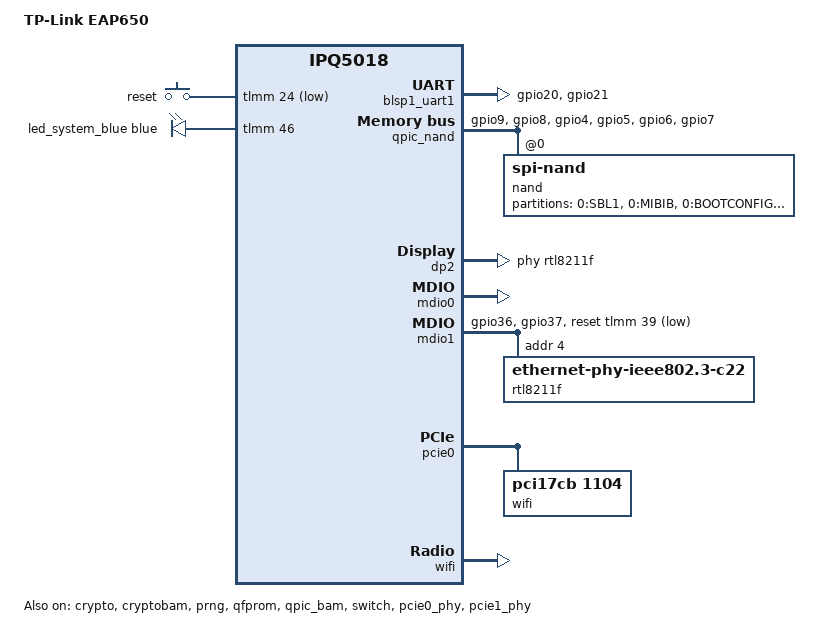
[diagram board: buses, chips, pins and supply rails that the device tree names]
/dts-v1/;

#include "ipq5018.dtsi"
#include "ipq5018-ess.dtsi"

#include <dt-bindings/gpio/gpio.h>
#include <dt-bindings/input/input.h>
#include <dt-bindings/leds/common.h>

/ {
	model = "TP-Link EAP650";
	compatible = "tplink,eap650", "qcom,ipq5018";

	aliases {
		label-mac-device = &dp1;
		led-boot = &led_system_blue;
		serial0 = &blsp1_uart1;
	};

	chosen {
		/* Xiaomi's U-boot sets bootargs to:
		 * ubi.mtd=rootfs_1 root=mtd:ubi_rootfs rootfstype=squashfs rootwait uart_en=1
		 * so we need to override and set ubi.mtd=rootfs
		 */
		bootargs-append = " ubi.mtd=rootfs root=/dev/ubiblock0_1 swiotlb=1 coherent_pool=2M";
		stdout-path = "serial0:115200n8";
	};

	keys {
		compatible = "gpio-keys";

		pinctrl-0 = <&button_pins>;
		pinctrl-names = "default";

		reset-button {
			label = "reset";
			gpios = <&tlmm 24 GPIO_ACTIVE_LOW>;
			linux,code = <KEY_RESTART>;
		};
	};

	leds {
		compatible = "gpio-leds";

		pinctrl-0 = <&leds_pins>;
		pinctrl-names = "default";

		led_system_blue: system-blue {
			color = <LED_COLOR_ID_BLUE>;
			function = LED_FUNCTION_POWER;
			gpios = <&tlmm 46 GPIO_ACTIVE_HIGH>;
		};
	};
};

&sleep_clk {
	clock-frequency = <32000>;
};

&xo_board_clk {
	clock-div = <4>;
	clock-mult = <1>;
};

&blsp1_uart1 {
	status = "okay";

	pinctrl-0 = <&serial_0_pins>;
	pinctrl-names = "default";
};

&crypto {
	status = "okay";
};

&cryptobam {
	status = "okay";
};

&prng {
	status = "okay";
};

&qfprom {
	status = "okay";
};

&qpic_bam {
	status = "okay";
};

&qpic_nand {
	pinctrl-0 = <&qpic_pins>;
	pinctrl-names = "default";
	status = "okay";

	nand@0 {
		compatible = "spi-nand";
		reg = <0>;
		nand-ecc-engine = <&qpic_nand>;
		nand-bus-width = <8>;

		partitions {
			compatible = "fixed-partitions";
			#address-cells = <1>;
			#size-cells = <1>;

			partition@0 {
				label = "0:SBL1";
				reg = <0x00 0x80000>;
			};

			partition@80000 {
				label = "0:MIBIB";
				reg = <0x80000 0x80000>;
			};

			partition@100000 {
				label = "0:BOOTCONFIG";
				reg = <0x100000 0x100000>;
			};

			partition@200000 {
				label = "0:BOOTCONFIG1";
				reg = <0x200000 0x100000>;
			};

			partition@300000 {
				label = "0:QSEE";
				reg = <0x300000 0x200000>;
			};

			partition@500000 {
				label = "0:DEVCFG";
				reg = <0x500000 0x40000>;
			};

			partition@540000 {
				label = "0:CDT";
				reg = <0x540000 0x80000>;
			};

			partition@5c0000 {
				label = "0:APPSBLENV";
				reg = <0x5c0000 0x440000>;
			};

			partition@a00000 {
				label = "0:APPSBL_1";
				reg = <0xa00000 0x300000>;
			};

			partition@d00000 {
				label = "0:APPSBL";
				reg = <0xd00000 0x300000>;
			};

			partition@1000000 {
				label = "0:art";
				reg = <0x1000000 0x100000>;
				//read-only;

				nvmem-layout {
					compatible = "fixed-layout";
					#address-cells = <1>;
					#size-cells = <1>;

					mac_addr_dp1: macaddr@0 {
						reg = <0x0 0x6>;
					};

					mac_addr_dp2: macaddr@6 {
						reg = <0x6 0x6>;
					};

					caldata_qca9889: caldata@4d000 {
						reg = <0x4d000 0x844>;
					};
				};
			};

			partition@1100000 {
				label = "rootfs";
				reg = <0x1100000 0x6900000>;
			};
		};
	};
};

/*
* =================================================================
*     _______________________
*    |        IPQ5018        |
*    | +------+   +--------+ |
*    | | MAC0 |---| GE Phy | |
*    | +------+   +--------+ |
*    |                       |
*    |                       |            _______________________
*    |                       |           |        RTL8211f       |
*    | +------+   +--------+ |           | +-------------------+ |
*    | | MAC1 |---| Uniphy |-+-- SGMII+--+ |        Phy        | |
*    | +------+   +--------+ |           | +-------------------+ |
*    |_______________________|           |_______________________|
*
* =================================================================
*/

&switch {
	status = "okay";

	switch_mac_mode = <MAC_MODE_SGMII_CHANNEL0>;

	qcom,port_phyinfo {
		// MAC0 -> GE Phy --- MDI --- QCA8337 Switch
		port@1 {
			port_id = <1>;
			mdiobus = <&mdio0>;
			phy_address = <7>;
			phy_dac = <0x10 0x10>;
		};

		// MAC1 -> Uniphy --- SGMII --- RTL8211f
		port@2 {
			port_id = <2>;
			mdiobus = <&mdio1>;
			phy_address = <4>;
			port_mac_sel = "QGMAC_PORT";
		};
	};
};

// MAC0 -> GE Phy
&dp1 {
	status = "disabled";

	nvmem-cells = <&mac_addr_dp1 0>;
	nvmem-cell-names = "mac-address";
};

// MAC1 ---SGMII---> RTL8211f
&dp2 {
	status = "okay";

	phy-handle = <&rtl8211f>;
	nvmem-cells = <&mac_addr_dp2 0>;
	nvmem-cell-names = "mac-address";
};

&mdio0 {
	status = "okay";
};

&mdio1 {
	status = "okay";

	pinctrl-0 = <&mdio1_pins>;
	pinctrl-names = "default";
	reset-gpios = <&tlmm 39 GPIO_ACTIVE_LOW>;

	// RTL8211f Phy -> WAN
	rtl8211f: ethernet-phy@3 {
		compatible = "ethernet-phy-ieee802.3-c22";
		reg = <4>;

		leds {
			#address-cells = <1>;
			#size-cells = <0>;

			led@0 {
				reg = <0>;
				color = <LED_COLOR_ID_GREEN>;
				function = LED_FUNCTION_WAN;
				default-state = "keep";
			};
		};
	};
};

&tlmm {
	button_pins: button-state {
		pins = "gpio24";
		function = "gpio";
		drive-strength = <8>;
		bias-pull-up;
	};

	leds_pins: leds-state {
		pins = "gpio46";
		function = "gpio";
		drive-strength = <8>;
		bias-pull-down;
	};

	mdio1_pins: mdio-state {
		mdc-pins {
			pins = "gpio36";
			function = "mdc";
			drive-strength = <8>;
			bias-pull-up;
		};

		mdio-pins {
			pins = "gpio37";
			function = "mdio";
			drive-strength = <8>;
			bias-pull-up;
		};
	};

	qpic_pins: qpic-state {
		clock-pins {
			pins = "gpio9";
			function = "qspi_clk";
			drive-strength = <8>;
			bias-disable;
		};

		cs-pins {
			pins = "gpio8";
			function = "qspi_cs";
			drive-strength = <8>;
			bias-disable;
		};

		data-pins {
			pins = "gpio4", "gpio5", "gpio6", "gpio7";
			function = "qspi_data";
			drive-strength = <8>;
			bias-disable;
		};
	};

	serial_0_pins: uart0-state {
		pins = "gpio20", "gpio21";
		function = "blsp0_uart0";
		bias-disable;
	};
};

&pcie0_phy {
	status = "okay";
};

&pcie0 {
	status = "okay";

	perst-gpios = <&tlmm 15 GPIO_ACTIVE_LOW>;

	pcie@0 {
		wifi@0,0 {
			status = "okay";

			/* QCN9074: ath11k lacks DT compatible for PCI cards */
			compatible = "pci17cb,1104";
			reg = <0x00010000 0 0 0 0>;

			qcom,tgt-mem-mode = <0x01>;
			qcom,rproc = <0x1b>;
			qcom,bdf-addr = <0x4ba00000 0x4ba00000 0x4ba00000 0x00 0x00>;
			qcom,caldb-addr = <0x4ca00000 0x4ca00000 0x4ca00000 0x00 0x00>;
			qcom,caldb-size = <0x200000>;
			qcom,board_id = <0x24>;
			qcom,ath11k-calibration-variant = "TPLink-EAP650";
		};
	};
};

&pcie1_phy {
	status = "okay";
};

&pcie1 {
	/*
	 * although the pcie1 phy probes successfully, the controller is unable
	 * to bring it up. So let's disable it until a solution is found.
	 */
	status = "disabled";

	perst-gpios = <&tlmm 18 GPIO_ACTIVE_LOW>;

	pcie@0 {
		wifi@0,0 {
			status = "okay";

			compatible = "qcom,ath10k";
			reg = <0x00010000 0 0 0 0>;

			qcom,ath10k-calibration-variant = "TPLink-EAP650";
			nvmem-cell-names = "calibration";
			nvmem-cells = <&caldata_qca9889>;
		};
	};
};

&q6v5_wcss {
	firmware-name = "ath11k/IPQ5018/hw1.0/q6_fw.mdt",
			"ath11k/IPQ5018/hw1.0/m3_fw.mdt";
};

&wifi {
	status = "okay";

	qcom,rproc = <&q6v5_wcss>;
	qcom,ath11k-calibration-variant = "TPLink-EAP650";
	qcom,ath11k-fw-memory-mode = <1>;
};
